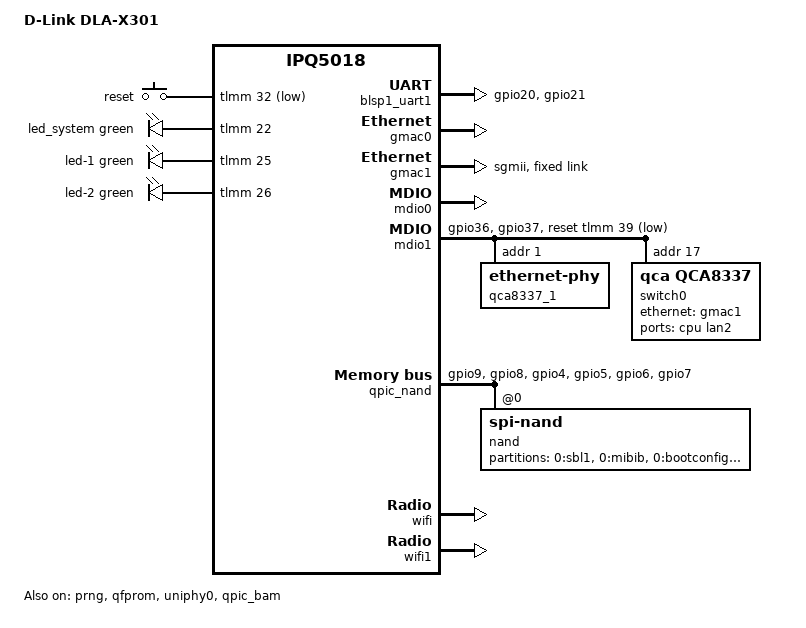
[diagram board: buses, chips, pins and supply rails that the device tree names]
// SPDX-License-Identifier: GPL-2.0-or-later OR MIT
/dts-v1/;

#include "ipq5018.dtsi"
#include "ipq5018-ess.dtsi"
#include "ipq5018-qcn6122.dtsi"

#include <dt-bindings/gpio/gpio.h>
#include <dt-bindings/input/input.h>
#include <dt-bindings/leds/common.h>
#include <dt-bindings/reset/qcom,gcc-ipq5018.h>

/ {
	model = "D-Link DLA-X301";
	compatible = "dlink,dla-x301", "qcom,ipq5018";

	aliases {
		ethernet0 = &gmac0;
		ethernet1 = &gmac1;
		led-boot = &led_system;
		led-failsafe = &led_system;
		led-running = &led_system;
		led-upgrade = &led_system;
		serial0 = &blsp1_uart1;
	};

	chosen {
		/*
		 * ubi.mtd=rootfs BILEREK YOK: diger ipq50xx board'lari da vermiyor.
		 * Verilince initramfs boot'unda kernel bos MTD'ye UBI attach etmeye
		 * calisiyor, 700+ ubi_io_write hatasi basip boot'u ~90 sn geciktiriyor.
		 */
		bootargs-append = " root=/dev/ubiblock0_1 swiotlb=1 coherent_pool=2M";
		stdout-path = "serial0:115200n8";
	};

	keys {
		compatible = "gpio-keys";
		pinctrl-0 = <&button_pins>;
		pinctrl-names = "default";

		button-reset {
			label = "reset";
			gpios = <&tlmm 32 GPIO_ACTIVE_LOW>;
			linux,code = <KEY_RESTART>;
			debounce-interval = <60>;
		};
	};

	/*
	 * Kasada tek yesil LED var; asagidaki uc GPIO'nun her biri ayni
	 * fiziksel LED'i yakiyor (olculdu: uc desen de ayni LED'de gorundu,
	 * renk degisimi yok). OEM device tree de ucunu ayri ayri tanimliyor.
	 */
	leds {
		compatible = "gpio-leds";
		pinctrl-0 = <&leds_pins>;
		pinctrl-names = "default";

		led_system: led-0 {
			color = <LED_COLOR_ID_GREEN>;
			function = LED_FUNCTION_STATUS;
			gpios = <&tlmm 22 GPIO_ACTIVE_HIGH>;
		};

		led-1 {
			color = <LED_COLOR_ID_GREEN>;
			function = LED_FUNCTION_WLAN;
			gpios = <&tlmm 25 GPIO_ACTIVE_HIGH>;
			linux,default-trigger = "phy0tpt";
		};

		led-2 {
			color = <LED_COLOR_ID_GREEN>;
			function = LED_FUNCTION_LAN;
			gpios = <&tlmm 26 GPIO_ACTIVE_HIGH>;
		};
	};
};

&sleep_clk {
	clock-frequency = <32000>;
};

&xo_board_clk {
	clock-div = <4>;
	clock-mult = <1>;
};

&blsp1_uart1 {
	pinctrl-0 = <&serial_0_pins>;
	pinctrl-names = "default";
	status = "okay";
};

&prng {
	status = "okay";
};

&qfprom {
	status = "okay";
};

&uniphy0 {
	status = "okay";

	assigned-clocks = <&uniphy0 UNIPHY_CLK_REF>;
	assigned-clock-rates = <UNIPHY_REFCLK_25MHZ>;
};

/* MAC0 -> dahili GE PHY (mdio0 addr 7) -> 1. jack */
&gmac0 {
	status = "okay";

	label = "lan1";
};

/* MAC1 ---SGMII---> QCA8337 SerDes -> 2. jack */
&gmac1 {
	status = "okay";

	phy-mode = "sgmii";

	fixed-link {
		speed = <1000>;
		full-duplex;
	};
};

&mdio0 {
	status = "okay";
};

&mdio1 {
	status = "okay";
	pinctrl-0 = <&mdio1_pins>;
	pinctrl-names = "default";
	reset-gpios = <&tlmm 39 GPIO_ACTIVE_LOW>;

	/*
	 * QCA8337'nin dort PHY'i var ama cihazda switch tarafina cikan
	 * TEK fiziksel jack var: canli test (kablo Port B) switch port@2 /
	 * PHY reg=1'i gosterdi. Diger uc PHY (0/2/3) kullanilmiyor,
	 * tanimlanmadi.
	 */
	qca8337_1: ethernet-phy@1 {
		reg = <1>;
	};

	switch0: ethernet-switch@17 {
		compatible = "qca,qca8337";
		reg = <17>;
		#address-cells = <1>;
		#size-cells = <0>;

		ports {
			#address-cells = <1>;
			#size-cells = <0>;

			switch0cpu: port@0 {
				reg = <0>;
				label = "cpu";
				phy-mode = "sgmii";
				ethernet = <&gmac1>;
				qca,sgmii-enable-pll;

				fixed-link {
					speed = <1000>;
					full-duplex;
				};
			};

			/* 2. fiziksel jack (Port B) */
			port@2 {
				reg = <2>;
				label = "lan2";
				phy-handle = <&qca8337_1>;
			};
		};
	};
};

&qpic_bam {
	status = "okay";
};

&qpic_nand {
	pinctrl-0 = <&qpic_pins>;
	pinctrl-names = "default";
	status = "okay";

	/*
	 * OEM U-Boot (QSDK) QPIC'i raw-nand modunda kullanip oyle birakiyor;
	 * kernel ise spi-mem modunda devraliyor ve denetleyiciyi hic
	 * resetlemiyor. Olculdu: U-Boot'ta bootm oncesi tek bir "nand read"
	 * kernel tarafindaki okumayi busbutun bozuyor. Bloku resetleyip
	 * temiz devralmayi deniyoruz.
	 */
	qcom,phase = <6>;

	/*
	 * U-Boot flash'tan boot ederken NAND'i yogun kullanip QPIC'i oyle
	 * devrediyor; kernel surucusu denetleyiciyi hic resetlemedigi icin
	 * spi-nand probe -512 ile dusuyor ve hic MTD partition olusmuyor.
	 * (TFTP boot'ta sorun yok, cunku U-Boot NAND'a dokunmuyor.)
	 */

	/*
	 * NAND okuma sorunu: tum partitionlar 0xff okunuyor, ECC hatasi yok.
	 * U-Boot ayni cipi 320 MHz io_macro ile SORUNSUZ okuyor (dogrulandi),
	 * cunku serial training yapiyor (mtd14 "0:training" dolu, OEM DT
	 * qcom,phase = 6). Upstream spi-qpic-snand'de ne training ne phase
	 * ayari var; clock'u 320 MHz'de birakip kalibrasyonsuz okuyor.
	 *
	 * 24 MHz denemesi sistemi kilitledi -- 24 MHz XO parent'indan gelir,
	 * yani calisirken PARENT degistirmis oluyoruz. 100/200/320 MHz hepsi
	 * GPLL0'dan; sadece divider degisiyor, guvenli.
	 *
	 * SONUC: 320 MHz ve 200 MHz BIREBIR AYNI md5'leri veriyor (hepsi 0xff).
	 * Clock hizi suclu DEGIL, bu yuzden varsayilan 320 MHz'de birakildi.
	 *
	 * Siradaki hipotez: cip ID'si DOGRU okunuyor (ESMT bulundu) ama sayfa
	 * verisi gelmiyor -> komut yolu calisiyor, veri yolu calismiyor.
	 * ID tek hatli basit komutla, sayfa okuma quad (4 hat) + DMA ile
	 * yapiliyor. spi-rx-bus-width = <1> ile tek hatta zorlayip test.
	 */

	/* GigaDevice F50D1G41LB: 128 MiB, page 2048, OOB 64, erase 128 KiB */
	nand@0 {
		compatible = "spi-nand";
		reg = <0>;
		nand-ecc-engine = <&qpic_nand>;

		/*
		 * ESMT/GigaDevice F50D1G41LB. Cip kendi ECC gereksinimini
		 * 1-bit bildiriyor, QPIC ise yalniz 4/8-bit destekliyor ve
		 * surucu "trying 4-bits" fallback yoluna giriyor. Ayni cip
		 * icin upstream'e onerilen yol (OpenWrt PR #23056,
		 * TP-Link EAP650-Outdoor) ECC'yi DTS'ten acikca vermek.
		 */
		nand-ecc-strength = <4>;
		nand-ecc-step-size = <512>;
		nand-bus-width = <8>;

		/*
		 * SABIT partition tablosu (smem DEGIL). "qcom,smem-part"
		 * parser'i SMEM surucusu hazir degilse -EPROBE_DEFER (-512)
		 * donduruyor; RAM boot'ta initramfs sayesinde cozuluyor ama
		 * FLASH boot'ta rootfs'in kendisi MTD'ye bagli oldugu icin
		 * kilitleniyor (UBI error: cannot open mtd rootfs).
		 * Offsetler cihazdan okunan /proc/mtd ile birebir ayni.
		 */
		partitions {
			compatible = "fixed-partitions";
			#address-cells = <1>;
			#size-cells = <1>;

			partition@0 {
				label = "0:sbl1";
				reg = <0x0 0x80000>;
				read-only;
			};

			partition@80000 {
				label = "0:mibib";
				reg = <0x80000 0x80000>;
				read-only;
			};

			partition@100000 {
				label = "0:bootconfig";
				reg = <0x100000 0x40000>;
				read-only;
			};

			partition@140000 {
				label = "0:bootconfig1";
				reg = <0x140000 0x40000>;
				read-only;
			};

			partition@180000 {
				label = "0:qsee";
				reg = <0x180000 0x100000>;
				read-only;
			};

			partition@280000 {
				label = "0:qsee_1";
				reg = <0x280000 0x100000>;
				read-only;
			};

			partition@380000 {
				label = "0:devcfg";
				reg = <0x380000 0x40000>;
				read-only;
			};

			partition@3c0000 {
				label = "0:devcfg_1";
				reg = <0x3c0000 0x40000>;
				read-only;
			};

			partition@400000 {
				label = "0:cdt";
				reg = <0x400000 0x40000>;
				read-only;
			};

			partition@440000 {
				label = "0:cdt_1";
				reg = <0x440000 0x40000>;
				read-only;
			};

			partition@480000 {
				label = "0:appsblenv";
				reg = <0x480000 0x80000>;
			};

			partition@500000 {
				label = "0:appsbl";
				reg = <0x500000 0x140000>;
				read-only;
			};

			partition@640000 {
				label = "0:appsbl_1";
				reg = <0x640000 0x140000>;
				read-only;
			};

			partition@780000 {
				label = "0:art";
				reg = <0x780000 0x100000>;
				read-only;
			};

			partition@880000 {
				label = "0:training";
				reg = <0x880000 0x80000>;
				read-only;
			};

			partition@900000 {
				label = "rootfs";
				reg = <0x900000 0x3a00000>;
			};

			partition@4300000 {
				label = "rootfs_1";
				reg = <0x4300000 0x3a00000>;
			};
		};
	};
};

&tlmm {
	mdio1_pins: mdio-state {
		mdc-pins {
			pins = "gpio36";
			function = "mdc";
			drive-strength = <8>;
			bias-pull-up;
		};

		mdio-pins {
			pins = "gpio37";
			function = "mdio";
			drive-strength = <8>;
			bias-pull-up;
		};
	};

	leds_pins: leds-pins {
		pins = "gpio22", "gpio25", "gpio26";
		function = "gpio";
		drive-strength = <8>;
		bias-pull-down;
	};

	button_pins: button-pins {
		pins = "gpio32";
		function = "gpio";
		drive-strength = <8>;
		bias-pull-up;
	};

	qpic_pins: qpic-state {
		clock-pins {
			pins = "gpio9";
			function = "qspi_clk";
			drive-strength = <8>;
			bias-disable;
		};

		cs-pins {
			pins = "gpio8";
			function = "qspi_cs";
			drive-strength = <8>;
			bias-disable;
		};

		data-pins {
			pins = "gpio4", "gpio5", "gpio6", "gpio7";
			function = "qspi_data";
			drive-strength = <8>;
			bias-disable;
		};
	};

	serial_0_pins: uart0-state {
		pins = "gpio20", "gpio21";
		function = "blsp0_uart0";
		drive-strength = <8>;
		bias-disable;
	};
};

/*
 * IPQ5018 dahili radyo (2.4 GHz).
 * qcom,ath11k-calibration-variant bilerek YOK: cihaza ait bir
 * ipq-wifi-* (board-2.bin) paketi henuz yok, variant verilirse
 * ath11k board data bulamaz. Ilk boot varsayilan BDF ile denenecek.
 */
&wifi {
	status = "okay";

	qcom,rproc = <&q6_wcss_pd1>;
	qcom,userpd-subsys-name = "q6v5_wcss_userpd1";
	qcom,ath11k-fw-memory-mode = <1>;
	qcom,bdf-addr = <0x4c400000>;
};

/*
 * QCN6122 (5 GHz).
 * userpd2, userpd3 DEGIL: OEM device tree bu cihazda wifi1'i
 * "q6v5_wcss_userpd2"ye bagliyor (oem_dt/base/soc/wifi1@c000000).
 * pd3 ile denendiginde ana Q6 "err_smem_ver.2.1 / USER-PD DOG stalled
 * initialization, Process name :wlan2" ile crash ediyordu.
 * Linksys MX2000 da ayni sekilde userpd2 kullaniyor.
 */
&wifi1 {
	status = "okay";

	qcom,rproc = <&q6_wcss_pd2>;
	qcom,userpd-subsys-name = "q6v5_wcss_userpd2";
	qcom,ath11k-fw-memory-mode = <1>;
	qcom,bdf-addr = <0x4d100000>;
	qcom,m3-dump-addr = <0x4df00000>;
};
